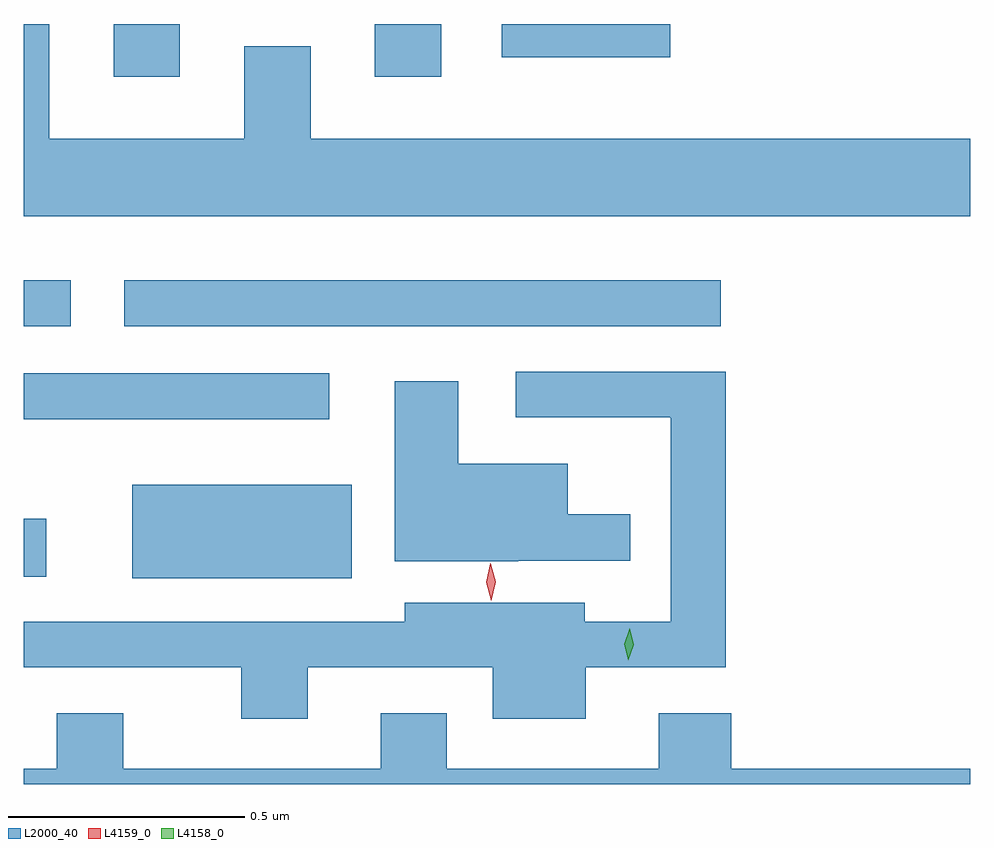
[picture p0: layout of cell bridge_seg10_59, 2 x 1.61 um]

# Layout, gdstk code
import gdstk
lib = gdstk.Library(unit=1e-6, precision=1e-09)
def R(c, l, rs):  # rectangles x0, y0, x1, y1
    for r in rs: c.add(gdstk.rectangle(r[:2], r[2:], *l))
def P(c, l, *ps):  # polygons
    for p in ps: c.add(gdstk.Polygon(p, *l))
L2000_40 = (2000, 40)
L4158_0 = (4158, 0)
L4159_0 = (4159, 0)

bridge_seg10_59 = lib.new_cell('bridge_seg10_59')
R(bridge_seg10_59, L2000_40, [(844.124,1248.935,844.588,1249.132), (843.895,1248.938,843.943,1249.06), (843.895,1249.271,844.54,1249.368), (843.895,1249.467,843.994,1249.564), (844.107,1249.467,845.368,1249.564), (844.085,1249.995,844.225,1250.106), (844.637,1249.995,844.777,1250.106), (844.905,1250.036,845.261,1250.106)])
P(bridge_seg10_59, L2000_40, [(844.361,1250.059),(844.361,1249.864),(843.949,1249.864),(843.949,1250.106),(843.895,1250.106),(843.895,1249.7),(845.895,1249.7),(845.895,1249.864),(844.501,1249.864),(844.501,1250.059)],
  [(844.495,1248.747),(844.886,1248.747),(844.886,1248.638),(845.083,1248.638),(845.083,1248.747),(845.378,1248.747),(845.378,1249.371),(844.935,1249.371),(844.935,1249.275),(845.261,1249.275),(845.261,1249.274),(845.262,1249.274),(845.262,1248.843),(845.08,1248.843),(845.08,1248.883),(844.7,1248.883),(844.7,1248.843),(843.895,1248.843),(843.895,1248.747),(844.355,1248.747),(844.355,1248.638),(844.495,1248.638)],
  [(844.94,1248.972),(845.177,1248.972),(845.177,1249.07),(845.044,1249.07),(845.044,1249.177),(844.813,1249.177),(844.813,1249.351),(844.679,1249.351),(844.679,1248.971),(844.94,1248.971)],
  [(845.895,1248.532),(845.39,1248.532),(845.39,1248.649),(845.237,1248.649),(845.237,1248.532),(844.789,1248.532),(844.789,1248.649),(844.649,1248.649),(844.649,1248.532),(844.105,1248.532),(844.105,1248.649),(843.965,1248.649),(843.965,1248.532),(843.895,1248.532),(843.895,1248.5),(845.895,1248.5)])
P(bridge_seg10_59, L4158_0, [(845.172,1248.761),(845.172,1248.761),(845.164,1248.795),(845.175,1248.829),(845.175,1248.829),(845.175,1248.829),(845.184,1248.794),(845.172,1248.761)])
P(bridge_seg10_59, L4159_0, [(844.883,1248.887),(844.883,1248.887),(844.872,1248.926),(844.881,1248.965),(844.881,1248.966),(844.882,1248.965),(844.892,1248.927),(844.883,1248.887)])

lib.write_gds('bridge_seg10_59.gds')
